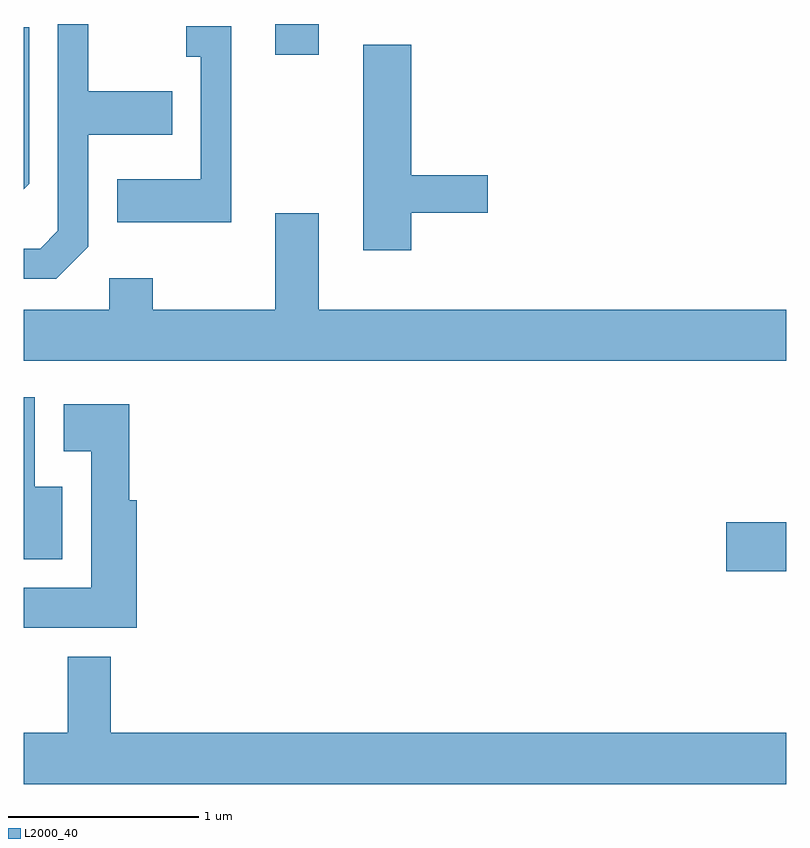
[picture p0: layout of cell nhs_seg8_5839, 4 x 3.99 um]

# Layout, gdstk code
import gdstk
lib = gdstk.Library(unit=1e-6, precision=1e-09)
def R(c, l, rs):  # rectangles x0, y0, x1, y1
    for r in rs: c.add(gdstk.rectangle(r[:2], r[2:], *l))
def P(c, l, *ps):  # polygons
    for p in ps: c.add(gdstk.Polygon(p, *l))
L2000_40 = (2000, 40)

nhs_seg8_5839 = lib.new_cell('nhs_seg8_5839')
R(nhs_seg8_5839, L2000_40, [(363.296,1897.471,363.611,1897.729), (360.931,1900.181,361.159,1900.342)])
P(nhs_seg8_5839, L2000_40, [(359.949,1899.174),(359.949,1899.761),(360.389,1899.761),(360.389,1899.989),(359.949,1899.989),(359.949,1900.342),(359.791,1900.342),(359.791,1899.257),(359.699,1899.164),(359.611,1899.164),(359.611,1899.006),(359.782,1899.006)],
  [(360.699,1900.329),(360.463,1900.329),(360.463,1900.171),(360.541,1900.171),(360.541,1899.529),(360.101,1899.529),(360.101,1899.301),(360.699,1899.301)],
  [(359.639,1899.504),(359.639,1900.324),(359.611,1900.324),(359.611,1899.476)],
  [(361.644,1899.351),(362.044,1899.351),(362.044,1899.549),(361.644,1899.549),(361.644,1900.234),(361.391,1900.234),(361.391,1899.156),(361.644,1899.156)],
  [(363.611,1898.844),(361.159,1898.844),(361.159,1899.349),(360.931,1899.349),(360.931,1898.844),(360.289,1898.844),(360.289,1899.009),(360.061,1899.009),(360.061,1898.844),(359.611,1898.844),(359.611,1898.576),(363.611,1898.576)],
  [(359.814,1897.914),(359.669,1897.914),(359.669,1898.384),(359.611,1898.384),(359.611,1897.536),(359.814,1897.536)],
  [(360.204,1897.844),(360.164,1897.844),(360.164,1898.349),(359.821,1898.349),(359.821,1898.101),(359.966,1898.101),(359.966,1897.384),(359.611,1897.384),(359.611,1897.176),(360.204,1897.176)],
  [(363.611,1896.624),(360.069,1896.624),(360.069,1897.024),(359.841,1897.024),(359.841,1896.624),(359.611,1896.624),(359.611,1896.356),(363.611,1896.356)])

lib.write_gds('nhs_seg8_5839.gds')
